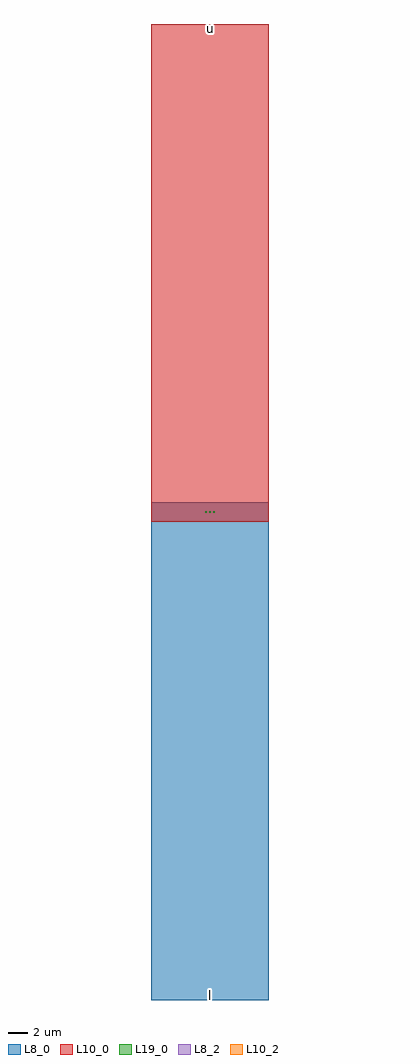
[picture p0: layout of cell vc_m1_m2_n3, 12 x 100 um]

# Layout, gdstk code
import gdstk
lib = gdstk.Library(unit=1e-6, precision=1e-09)
def R(c, l, rs):  # rectangles x0, y0, x1, y1
    for r in rs: c.add(gdstk.rectangle(r[:2], r[2:], *l))
def A(c, l, x, y, w, h, nx, ny, dx, dy):  # array of equal rectangles
    R(c, l, [(x+i*dx, y+j*dy, x+i*dx+w, y+j*dy+h) for i in range(nx) for j in range(ny)])
L8_0 = (8, 0)
L8_2 = (8, 2)
L10_0 = (10, 0)
L10_2 = (10, 2)
L19_0 = (19, 0)

vc_m1_m2_n3 = lib.new_cell('vc_m1_m2_n3')
R(vc_m1_m2_n3, L8_0, [(0,0,12,51)])
R(vc_m1_m2_n3, L8_2, [(5.9,0.4,6.1,0.6)])
R(vc_m1_m2_n3, L10_0, [(0,49,12,100)])
R(vc_m1_m2_n3, L10_2, [(5.9,99.4,6.1,99.6)])
A(vc_m1_m2_n3, L19_0, 5.495, 49.905, 0.19, 0.19, 3, 1, 0.41, 0)
vc_m1_m2_n3.add(gdstk.Label('l', (6,0.5), layer=8, texttype=2))
vc_m1_m2_n3.add(gdstk.Label('u', (6,99.5), layer=10, texttype=2))

lib.write_gds('vc_m1_m2_n3.gds')
